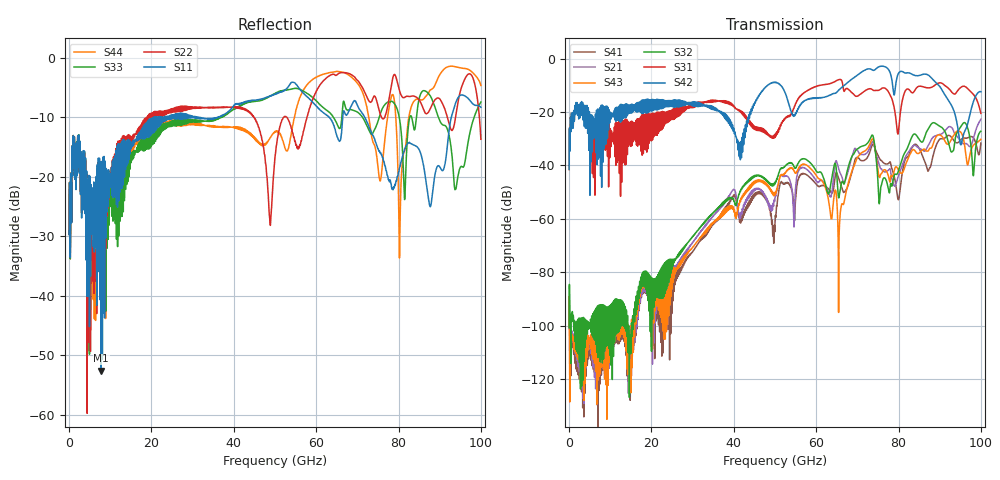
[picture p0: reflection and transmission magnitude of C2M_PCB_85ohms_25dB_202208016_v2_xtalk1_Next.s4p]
! Info: Touchstone file created by Circ.  Input file=Intel_C2M_200G_10p5in_202208016_staggered.circ
# Hz S RI R 50
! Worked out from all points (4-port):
!   10000 points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, 10 MHz to 100 GHz, reference 50 ohm
!   strongest paths, dB at 10 MHz, 25.01 GHz, 50.01 GHz, 75.01 GHz, 100 GHz:
!     S42: -41.5, -17.6, -8.9, -3.3, -12.5
!     S31: -41.6, -22.2, -29.5, -11.9, -20.5
!     S32: -100.8, -78.3, -46.7, -46.3, -27.2
!     S43: -90.2, -83.2, -51.1, -41.7, -30.2
!     S21: -89.8, -80.6, -52.1, -38.2, -22.7
!     S41: -89.1, -81.9, -61.5, -36.3, -31.7
!   lowest |S11| = -52.6 dB at 7.8 GHz (marker M1), VSWR 1.00, Z = 49.8 - j0.173 ohm
!   |S11| at or under -10 dB: start of sweep to 20.54 GHz; 31.83 GHz to 36.1 GHz (4.267 GHz wide, 12.6 % of centre); 71.8 GHz to 92.82 GHz (21.01 GHz wide, 25.5 % of centre)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
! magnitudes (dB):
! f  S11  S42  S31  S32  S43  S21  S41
! 10 MHz  -29.7  -41.5  -41.6  -100.8  -90.2  -89.8  -89.1
! 7.8 GHz  -52.6  -17.6  -20.4  -106.4  -106.9  -110.2  -109.7
! 41.45 GHz  -7.6  -31.7  -19.8  -49.8  -53.4  -58.9  -60.7
! 48.75 GHz  -6.4  -9.5  -28.8  -46.6  -48.5  -54.9  -56.2
! 76.08 GHz  -16.8  -2.9  -11.1  -45.8  -42.5  -41.8  -38.6
! 95.19 GHz  -6.2  -32.3  -10.7  -25.4  -27.7  -31.2  -30.3
! 100 GHz  -8.3  -12.5  -20.5  -27.2  -30.2  -22.7  -31.7
